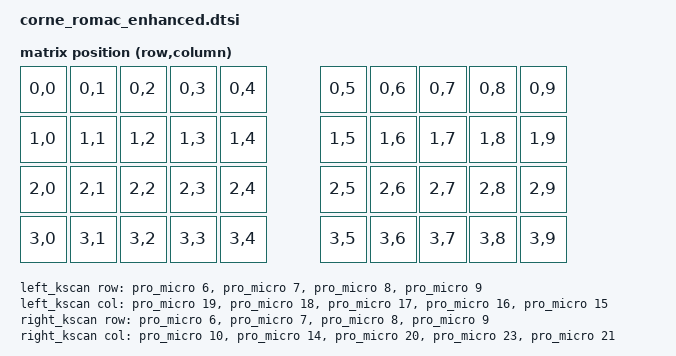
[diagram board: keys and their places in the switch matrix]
/*
 * Copyright (c) 2020 The ZMK Contributors
 *
 * SPDX-License-Identifier: MIT
 */

#include <dt-bindings/zmk/matrix-transform.h>

/ {
    chosen {
        zmk,keyboard = &corne_romac;
        zmk,keymap = &keymap;
    };

    // 矩阵变换配置
    matrix_transform {
        compatible = "zmk,matrix-transform";
        rows = <4>;
        columns = <10>;
        map = <
            RC(0,0) RC(0,1) RC(0,2) RC(0,3) RC(0,4)           RC(0,5) RC(0,6) RC(0,7) RC(0,8) RC(0,9)
            RC(1,0) RC(1,1) RC(1,2) RC(1,3) RC(1,4)           RC(1,5) RC(1,6) RC(1,7) RC(1,8) RC(1,9)
            RC(2,0) RC(2,1) RC(2,2) RC(2,3) RC(2,4)           RC(2,5) RC(2,6) RC(2,7) RC(2,8) RC(2,9)
            RC(3,0) RC(3,1) RC(3,2) RC(3,3) RC(3,4)           RC(3,5) RC(3,6) RC(3,7) RC(3,8) RC(3,9)
        >;
    };

    // 键盘定义
    corne_romac: corne_romac {
        compatible = "zmk,keyboard";

        // 左右半部分配置
        left_kscan: kscan_left {
            compatible = "zmk,kscan-gpio-matrix";
            label = "Left KSCAN";
            diode-direction = "col2row";
            row-gpios = <&pro_micro 6 GPIO_ACTIVE_HIGH   // Row 0 from left side
                         &pro_micro 7 GPIO_ACTIVE_HIGH   // Row 1
                         &pro_micro 8 GPIO_ACTIVE_HIGH   // Row 2
                         &pro_micro 9 GPIO_ACTIVE_HIGH>; // Row 3
            col-gpios = <&pro_micro 19 GPIO_PULL_DOWN    // Col 0
                         &pro_micro 18 GPIO_PULL_DOWN    // Col 1
                         &pro_micro 17 GPIO_PULL_DOWN    // Col 2
                         &pro_micro 16 GPIO_PULL_DOWN    // Col 3
                         &pro_micro 15 GPIO_PULL_DOWN>;  // Col 4
        };

        right_kscan: kscan_right {
            compatible = "zmk,kscan-gpio-matrix";
            label = "Right KSCAN";
            diode-direction = "col2row";
            row-gpios = <&pro_micro 6 GPIO_ACTIVE_HIGH   // Row 0 from right side
                         &pro_micro 7 GPIO_ACTIVE_HIGH   // Row 1
                         &pro_micro 8 GPIO_ACTIVE_HIGH   // Row 2
                         &pro_micro 9 GPIO_ACTIVE_HIGH>; // Row 3
            col-gpios = <&pro_micro 10 GPIO_PULL_DOWN    // Col 5
                         &pro_micro 14 GPIO_PULL_DOWN    // Col 6
                         &pro_micro 20 GPIO_PULL_DOWN    // Col 7
                         &pro_micro 23 GPIO_PULL_DOWN    // Col 8
                         &pro_micro 21 GPIO_PULL_DOWN>;  // Col 9
        };
    };

    // 蓝牙模块配置
    bt: bt {
        compatible = "zmk,bt";
    };

    // 电源管理配置
    power_management {
        compatible = "zmk,power-management";
        ext-power {
            compatible = "zmk,ext-power";
            gpios = <&pro_micro 13 GPIO_ACTIVE_HIGH>;
        };
    };

    // LED 指示器配置
    power_led {
        gpios = <&pro_micro 13 GPIO_ACTIVE_HIGH>;
    };

    // 电池电量显示（如果支持）
    battery {
        compatible = "zmk,battery";
        #io-channel-cells = <0>;
    };
};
